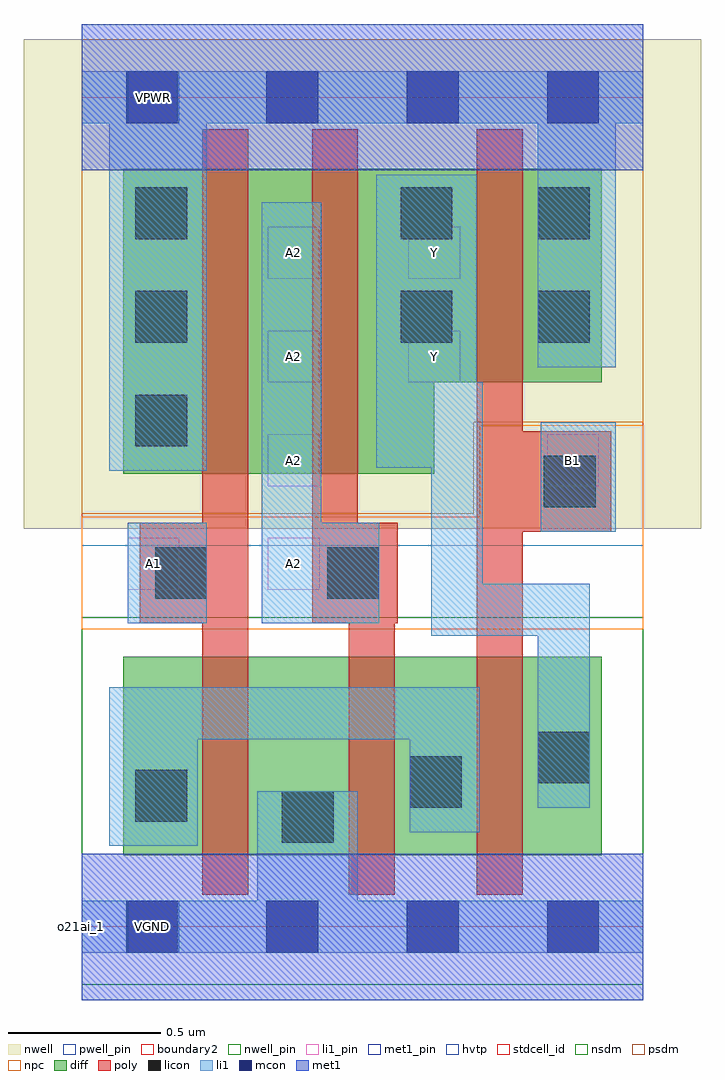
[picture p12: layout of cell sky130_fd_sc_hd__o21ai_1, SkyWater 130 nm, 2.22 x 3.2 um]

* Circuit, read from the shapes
.subckt sky130_fd_sc_hd__o21ai_1 A1 A2 B1 VGND VNB VPB VPWR Y
XM1 VGND A1 n1 VNB sky130_fd_pr__nfet_01v8 w=0.65 l=0.15
XM2 n1 A2 VGND VNB sky130_fd_pr__nfet_01v8 w=0.65 l=0.15
XM3 Y B1 n1 VNB sky130_fd_pr__nfet_01v8 w=0.65 l=0.15
XM4 n2 A1 VPWR VPB sky130_fd_pr__pfet_01v8_hvt w=1 l=0.15
XM5 Y A2 n2 VPB sky130_fd_pr__pfet_01v8_hvt w=1 l=0.15
XM6 VPWR B1 Y VPB sky130_fd_pr__pfet_01v8_hvt w=0.7 l=0.15
.ends

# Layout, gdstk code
import gdstk
lib = gdstk.Library(unit=1e-6, precision=1e-09)
def R(c, l, rs):  # rectangles x0, y0, x1, y1
    for r in rs: c.add(gdstk.rectangle(r[:2], r[2:], *l))
def A(c, l, x, y, w, h, nx, ny, dx, dy):  # array of equal rectangles
    R(c, l, [(x+i*dx, y+j*dy, x+i*dx+w, y+j*dy+h) for i in range(nx) for j in range(ny)])
def P(c, l, *ps):  # polygons
    for p in ps: c.add(gdstk.Polygon(p, *l))
nwell_pin = (64, 16)
nwell = (64, 20)
diff = (65, 20)
poly = (66, 20)
licon = (66, 44)
li1_pin = (67, 16)
li1 = (67, 20)
mcon = (67, 44)
met1_pin = (68, 16)
met1 = (68, 20)
hvtp = (78, 44)
stdcell_id = (81, 4)
nsdm = (93, 44)
psdm = (94, 20)
npc = (95, 20)
pwell_pin = (122, 16)
boundary2 = (236, 0)

sky130_fd_sc_hd__o21ai_1 = lib.new_cell('sky130_fd_sc_hd__o21ai_1')
R(sky130_fd_sc_hd__o21ai_1, nwell_pin, [(0.15,2.635,0.32,2.805)])
R(sky130_fd_sc_hd__o21ai_1, nwell, [(-0.19,1.305,2.03,2.91)])
R(sky130_fd_sc_hd__o21ai_1, diff, [(0.135,0.235,1.705,0.885)])
P(sky130_fd_sc_hd__o21ai_1, diff, [(1.705,2.485),(0.135,2.485),(0.135,1.485),(1.155,1.485),(1.155,1.785),(1.705,1.785)])
R(sky130_fd_sc_hd__o21ai_1, poly, [(0.875,0.105,1.025,0.995)])
P(sky130_fd_sc_hd__o21ai_1, poly, [(0.545,2.615),(0.395,2.615),(0.395,1.325),(0.19,1.325),(0.19,0.995),(0.395,0.995),(0.395,0.105),(0.545,0.105)],
  [(1.735,1.625),(1.445,1.625),(1.445,2.615),(1.295,2.615),(1.295,0.105),(1.445,0.105),(1.445,1.295),(1.735,1.295)],
  [(1.035,1.325),(0.905,1.325),(0.905,2.615),(0.755,2.615),(0.755,0.995),(1.035,0.995)])
A(sky130_fd_sc_hd__o21ai_1, licon, 0.175, 1.575, 0.17, 0.17, 1, 3, 0, 0.34)
R(sky130_fd_sc_hd__o21ai_1, licon, [(0.655,0.275,0.825,0.445), (0.175,0.345,0.345,0.515), (1.075,0.39,1.245,0.56), (1.495,0.47,1.665,0.64), (0.24,1.075,0.41,1.245), (0.805,1.075,0.975,1.245), (1.515,1.375,1.685,1.545), (1.045,1.915,1.215,2.085), (1.495,1.915,1.665,2.085), (1.045,2.255,1.215,2.425), (1.495,2.255,1.665,2.425)])
A(sky130_fd_sc_hd__o21ai_1, li1_pin, 0.61, 1.105, 0.17, 0.17, 1, 4, 0, 0.34)
R(sky130_fd_sc_hd__o21ai_1, li1_pin, [(0.15,1.105,0.32,1.275), (1.525,1.445,1.695,1.615), (1.07,1.785,1.24,1.955), (1.07,2.125,1.24,2.295)])
R(sky130_fd_sc_hd__o21ai_1, li1, [(0.15,0.995,0.41,1.325), (1.505,1.295,1.75,1.655)])
P(sky130_fd_sc_hd__o21ai_1, li1, [(1.84,2.805),(0,2.805),(0,2.635),(0.09,2.635),(0.09,1.495),(0.41,1.495),(0.41,2.635),(1.495,2.635),(1.495,1.835),(1.75,1.835),(1.75,2.635),(1.84,2.635)],
  [(1.84,0.085),(0.905,0.085),(0.905,0.445),(0.575,0.445),(0.575,0.085),(0,0.085),(0,-0.085),(1.84,-0.085)],
  [(1.665,1.125),(1.315,1.125),(1.315,1.785),(1.295,1.785),(1.295,2.465),(0.965,2.465),(0.965,1.505),(1.145,1.505),(1.145,0.955),(1.495,0.955),(1.495,0.39),(1.665,0.39)],
  [(0.59,0.995),(0.59,2.375),(0.785,2.375),(0.785,1.325),(0.975,1.325),(0.975,0.995)],
  [(1.305,0.785),(0.09,0.785),(0.09,0.265),(0.38,0.265),(0.38,0.615),(1.075,0.615),(1.075,0.31),(1.305,0.31)])
A(sky130_fd_sc_hd__o21ai_1, mcon, 0.145, -0.085, 0.17, 0.17, 4, 2, 0.46, 2.72)
R(sky130_fd_sc_hd__o21ai_1, met1_pin, [(0.15,-0.085,0.32,0.085), (0.15,2.635,0.32,2.805)])
R(sky130_fd_sc_hd__o21ai_1, hvtp, [(0,1.25,1.84,2.72)])
R(sky130_fd_sc_hd__o21ai_1, stdcell_id, [(0,0,1.84,2.72)])
R(sky130_fd_sc_hd__o21ai_1, nsdm, [(0,-0.19,1.84,1.015)])
P(sky130_fd_sc_hd__o21ai_1, psdm, [(1.84,2.91),(0,2.91),(0,1.355),(1.285,1.355),(1.285,1.655),(1.84,1.655)])
P(sky130_fd_sc_hd__o21ai_1, npc, [(1.84,1.645),(1.305,1.645),(1.305,1.345),(0,1.345),(0,0.975),(1.84,0.975)])
R(sky130_fd_sc_hd__o21ai_1, pwell_pin, [(0.15,-0.085,0.32,0.085)])
R(sky130_fd_sc_hd__o21ai_1, boundary2, [(0,0,1.84,2.72)])
sky130_fd_sc_hd__o21ai_1.add(gdstk.FlexPath([(0,0),(1.84,0)], 0.48, ends="flush", simple_path=True, layer=68, datatype=20))  # met1
sky130_fd_sc_hd__o21ai_1.add(gdstk.FlexPath([(0,2.72),(1.84,2.72)], 0.48, ends="flush", simple_path=True, layer=68, datatype=20))  # met1
sky130_fd_sc_hd__o21ai_1.add(gdstk.Label('VGND', (0.23,0), layer=68, texttype=5))
sky130_fd_sc_hd__o21ai_1.add(gdstk.Label('VPWR', (0.235,2.72), layer=68, texttype=5))
sky130_fd_sc_hd__o21ai_1.add(gdstk.Label('A2', (0.695,2.21), layer=67, texttype=5))
sky130_fd_sc_hd__o21ai_1.add(gdstk.Label('A2', (0.695,1.87), layer=67, texttype=5))
sky130_fd_sc_hd__o21ai_1.add(gdstk.Label('A2', (0.695,1.53), layer=67, texttype=5))
sky130_fd_sc_hd__o21ai_1.add(gdstk.Label('A1', (0.235,1.19), layer=67, texttype=5))
sky130_fd_sc_hd__o21ai_1.add(gdstk.Label('A2', (0.695,1.19), layer=67, texttype=5))
sky130_fd_sc_hd__o21ai_1.add(gdstk.Label('B1', (1.61,1.53), layer=67, texttype=5))
sky130_fd_sc_hd__o21ai_1.add(gdstk.Label('Y', (1.155,2.21), layer=67, texttype=5))
sky130_fd_sc_hd__o21ai_1.add(gdstk.Label('Y', (1.155,1.87), layer=67, texttype=5))
sky130_fd_sc_hd__o21ai_1.add(gdstk.Label('VPB', (0.235,2.72), layer=64, texttype=5))
sky130_fd_sc_hd__o21ai_1.add(gdstk.Label('VNB', (0.23,0), layer=64, texttype=59))
sky130_fd_sc_hd__o21ai_1.add(gdstk.Label('o21ai_1', (0,0), layer=83, texttype=44))

lib.write_gds('sky130_fd_sc_hd__o21ai_1.gds')
